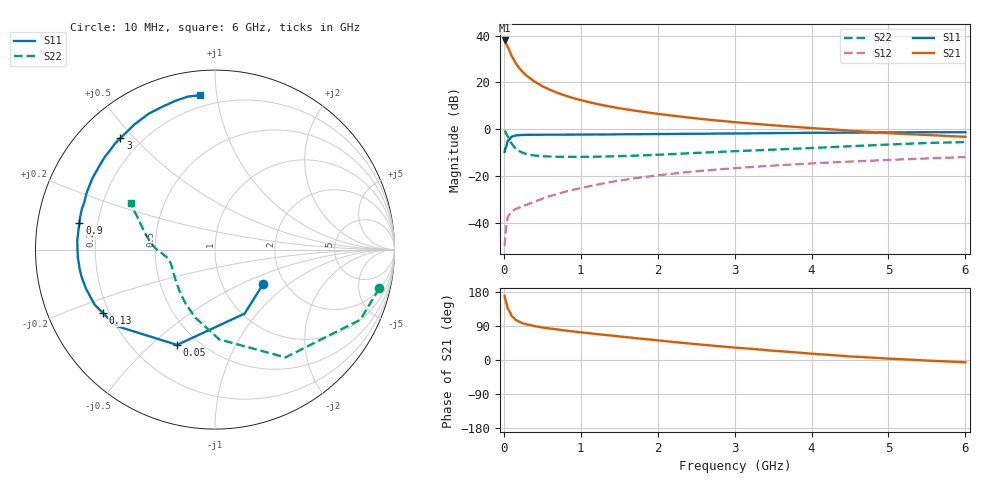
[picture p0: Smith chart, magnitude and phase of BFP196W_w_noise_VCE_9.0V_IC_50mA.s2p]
! Infineon Technologies  Discrete & RF Semiconductors
! BFP196W
! VCE =  9.0 V,  IC =  50 mA
! Common Emitter S-Parameters:  Jan 2017
# GHz  S  MA  R  50
!  f  S11  S21  S12  S22
! GHz  MAG  ANG  MAG  ANG  MAG  ANG  MAG  ANG
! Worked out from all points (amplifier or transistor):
!   77 points, 10 MHz to 6 GHz, reference 50 ohm
!   highest |S21| = 37.9 dB at 10 MHz (marker M1)
!   |S21| within 3 dB of that: start of sweep to 54.53 MHz
!   unconditionally stable (mu >= 1): 698 MHz to 3.288 GHz
!   at 130 MHz: K = 0.39, MSG = 32.1 dB, |S12| = -34.5 dB
!   at 2.2 GHz: K = 1.04, MAG = 11.1 dB, |S12| = -18.9 dB
!   at 6 GHz: K = 0.92, MSG = 4.3 dB, |S12| = -11.8 dB
!   lowest NFmin = 1.36 dB at 450 MHz
!   S11 on the Smith chart (normalised r, x): 10 MHz: 1.56, -0.67; 50 MHz: 0.38, -0.61; 130 MHz: 0.18, -0.26; 900 MHz: 0.13, +0.10; 3 GHz: 0.12, +0.46; 6 GHz: 0.13, +0.90
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0.01  0.3301 -35.5  78.8 169.5  0.0032 78.0  0.9406 -13.3
0.02  0.3928 -65.2  74.52 158.9  0.0056 75.0  0.8986 -25.8
0.05  0.5716 -111.7  57.88 135.7  0.0132 52.2  0.7178 -56.8
0.1  0.6971 -142.5  37.19 116.0  0.0176 42.7  0.5004 -87.4
0.13  0.7171 -150.4  30.65 111.1  0.0189 41.1  0.4312 -97.5
0.15  0.7376 -155.4  26.46 106.6  0.0198 40.2  0.3946 -106.1
0.2  0.7504 -162.9  20.28 100.8  0.0213 42.5  0.3438 -118.3
0.25  0.7581 -168.1  16.39 96.7  0.0232 43.2  0.3124 -127.5
0.3  0.7619 -171.5  13.74 93.9  0.0246 44.6  0.2946 -134.1
0.4  0.7654 -176.8  10.41 89.3  0.0286 51.4  0.2754 -143.5
0.5  0.7663 179.5  8.343 85.9  0.0328 54.0  0.2663 -149.6
0.6  0.769 176.2  6.978 83.0  0.0377 55.7  0.2627 -154.1
0.7  0.7679 173.7  5.976 80.4  0.0416 58.6  0.2589 -157.2
0.9  0.7705 168.7  4.646 75.4  0.0511 60.5  0.2582 -161.5
1.1  0.7744 164.4  3.824 70.9  0.0604 61.3  0.2594 -164.4
1.5  0.7812 156.5  2.819 62.3  0.0802 61.1  0.2676 -169.4
2.1  0.7937 145.2  2.04 49.8  0.1086 57.5  0.2911 -175.0
3  0.8144 130.3  1.421 32.8  0.148 50.5  0.3411 177.2
3.1  0.8163 128.8  1.378 31.3  0.1519 49.6  0.3462 176.2
4.1  0.8432 114.6  1.036 15.3  0.1904 41.5  0.4055 165.9
5.1  0.8593 103.8  0.812 2.7  0.2251 33.7  0.4799 156.1
6  0.8643 95.4  0.691 -6.2  0.2559 26.8  0.5342 151.0
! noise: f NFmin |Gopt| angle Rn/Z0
0.45  1.36  0.51  -177  0.05
0.9  1.48  0.55  -171  0.07
1.9  2.3  0.69  -149  0.16
2.4  2.7  0.73  -144  0.26
